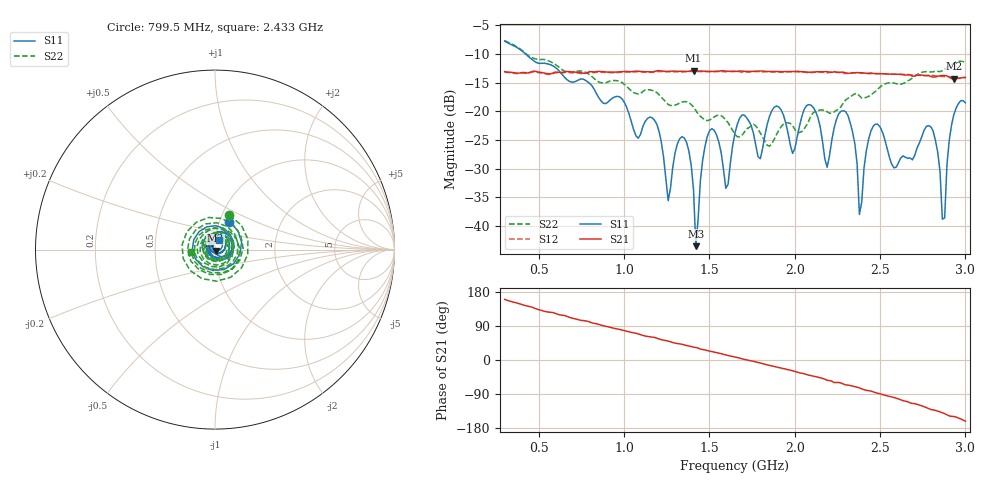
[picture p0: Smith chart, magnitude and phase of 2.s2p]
!CEYEAR,3656B,QZNG000070,1.3.8
!Calibration ON (Full Solt 2-Port(Omit Isolation))
!Measurements: S11 S21 S12 S22
!2025-12-27 10:40
# Hz  S  dB  R 50.000
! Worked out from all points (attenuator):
!   201 points, 300 MHz to 3 GHz, reference 50 ohm
!   highest |S21| = -12.91 dB at 1.407 GHz (marker M1); lowest = -14.3 dB at 2.933 GHz (marker M2)
!   lowest |S11| = -43.6 dB at 1.421 GHz (marker M3), VSWR 1.01, Z = 50.3 - j0.574 ohm
!   |S11| at or under -10 dB: 423.1 MHz to end of sweep
!   |S22| runs from -26.1 to -7.6 dB; largest |S21 - S12| = 0.021
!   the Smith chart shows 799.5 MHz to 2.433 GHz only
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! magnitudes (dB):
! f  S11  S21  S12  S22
! 300 MHz  -7.7  -13.1  -13.2  -7.6
! 759 MHz  -14.4  -13.3  -13.5  -13.0
! 1.204 GHz  -23.4  -12.9  -13.1  -17.1
! 1.258 GHz  -35.6  -13.0  -13.1  -18.8
! 1.339 GHz  -24.4  -13.0  -13.1  -18.4
! 1.407 GHz  -33.7  -12.9  -13.1  -19.3
! 1.421 GHz  -43.6  -12.9  -13.1  -19.9
! 1.488 GHz  -24.4  -13.0  -13.1  -21.6
! 1.596 GHz  -33.5  -13.0  -13.1  -21.5
! 1.65 GHz  -23.8  -13.0  -13.0  -24.0
! 1.893 GHz  -19.1  -13.1  -13.1  -24.1
! 1.988 GHz  -27.4  -13.1  -13.1  -22.5
! 2.109 GHz  -19.3  -13.2  -13.2  -20.2
! 2.19 GHz  -29.8  -13.1  -13.3  -20.1
! 2.312 GHz  -20.7  -13.4  -13.4  -17.8
! 2.379 GHz  -38.0  -13.3  -13.3  -17.3
! 2.46 GHz  -22.6  -13.4  -13.4  -16.8
! 2.554 GHz  -28.0  -13.5  -13.5  -15.0
! 2.797 GHz  -22.7  -13.9  -13.7  -13.1
! 2.878 GHz  -38.6  -13.8  -13.9  -12.7
! 2.933 GHz  -20.6  -14.3  -14.2  -11.6
! 3 GHz  -18.5  -14.1  -14.2  -11.4
